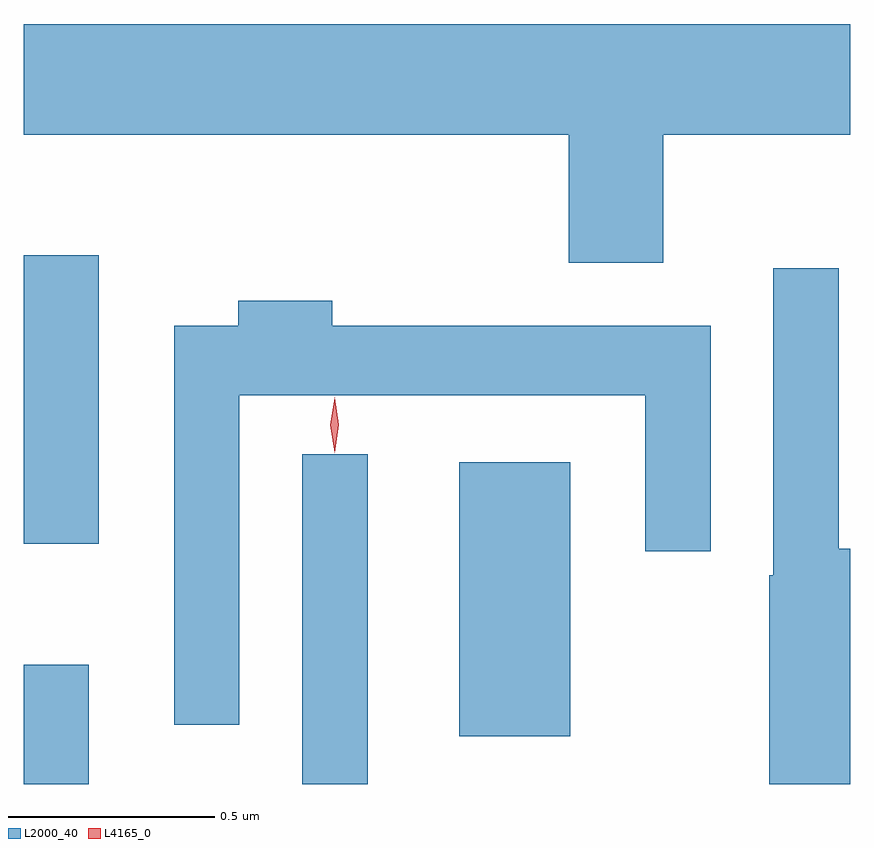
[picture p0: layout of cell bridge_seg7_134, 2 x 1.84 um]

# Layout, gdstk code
import gdstk
lib = gdstk.Library(unit=1e-6, precision=1e-09)
def R(c, l, rs):  # rectangles x0, y0, x1, y1
    for r in rs: c.add(gdstk.rectangle(r[:2], r[2:], *l))
def P(c, l, *ps):  # polygons
    for p in ps: c.add(gdstk.Polygon(p, *l))
L2000_40 = (2000, 40)
L4165_0 = (4165, 0)

bridge_seg7_134 = lib.new_cell('bridge_seg7_134')
R(bridge_seg7_134, L2000_40, [(1475.532,1746.045,1475.689,1746.334), (1476.206,1746.045,1476.364,1746.843), (1476.586,1746.161,1476.854,1746.824), (1475.532,1746.626,1475.714,1747.324)])
P(bridge_seg7_134, L2000_40, [(1477.079,1747.616),(1477.532,1747.616),(1477.532,1747.884),(1475.532,1747.884),(1475.532,1747.616),(1476.851,1747.616),(1476.851,1747.306),(1477.079,1747.306)],
  [(1477.532,1746.614),(1477.504,1746.614),(1477.504,1747.293),(1477.346,1747.293),(1477.346,1746.55),(1477.336,1746.55),(1477.336,1746.045),(1477.532,1746.045)],
  [(1476.054,1746.986),(1477.036,1746.986),(1477.036,1746.608),(1477.194,1746.608),(1477.194,1747.154),(1476.279,1747.154),(1476.279,1747.214),(1476.051,1747.214),(1476.051,1747.154),(1475.896,1747.154),(1475.896,1746.188),(1476.054,1746.188)])
P(bridge_seg7_134, L4165_0, [(1476.284,1746.847),(1476.284,1746.847),(1476.274,1746.914),(1476.284,1746.98),(1476.284,1746.981),(1476.285,1746.98),(1476.294,1746.914),(1476.285,1746.847)])

lib.write_gds('bridge_seg7_134.gds')
